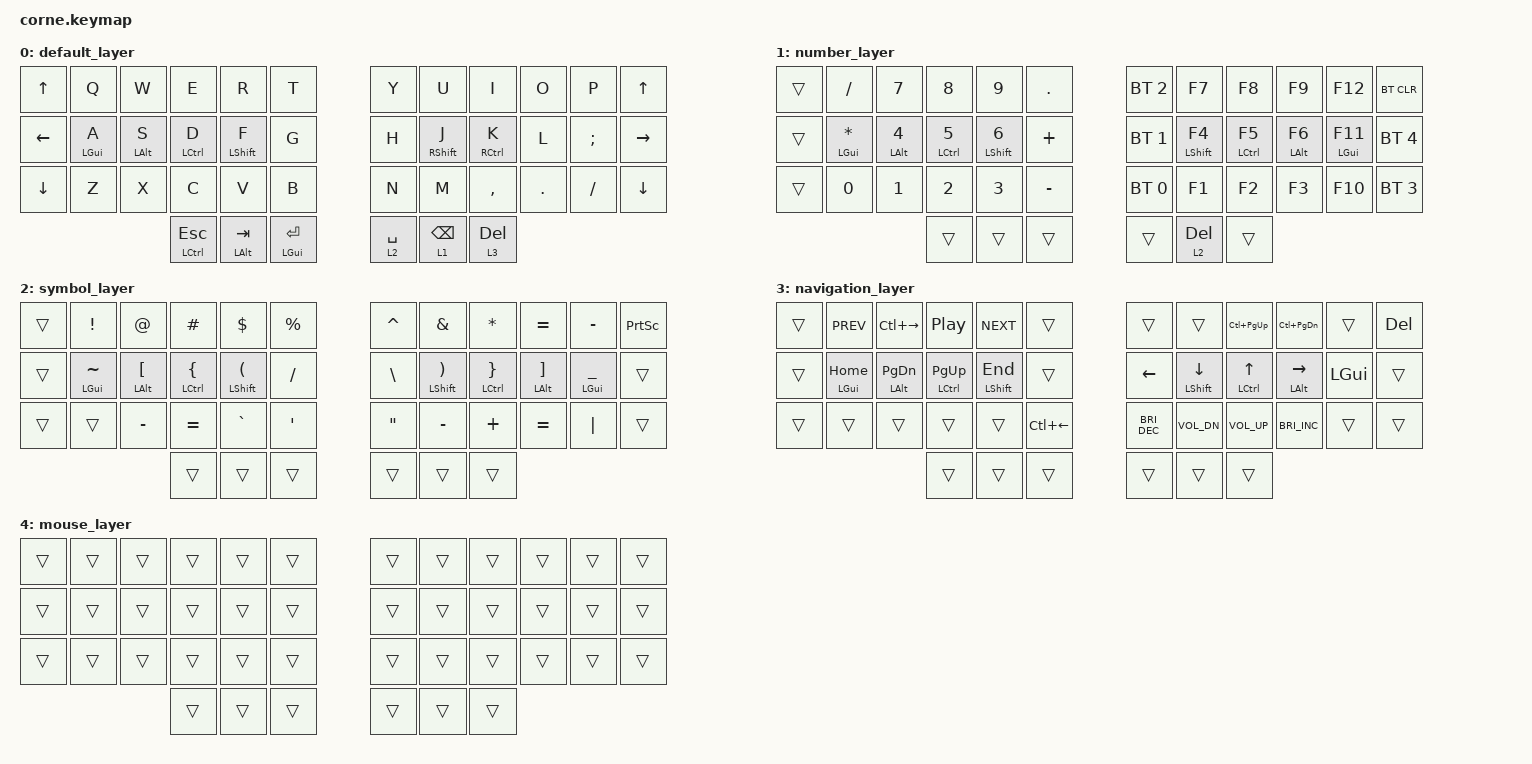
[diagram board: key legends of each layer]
/*
 * Copyright (c) 2020 The ZMK Contributors
 *
 * SPDX-License-Identifier: MIT
 */

/*
 * KEYMAP EDITOR COMPATIBILITY NOTICE
 *
 * This file is structured for compatibility with nickcoutsos's Keymap Editor.
 * The keymap definitions are kept in this single file, while other configurations
 * like behaviors, combos, and custom settings have been moved to separate files.
 *
 * DO NOT add #include directives to this file as they will break compatibility
 * with the Keymap Editor. If you need to modify behaviors or other settings,
 * edit the respective files:
 *  - behaviors.dtsi        - Custom behaviors definitions
 *  - combos.dtsi           - Combo definitions
 *  - layer_defs.dtsi       - Layer constants definitions
 */

#include <behaviors.dtsi>
#include <dt-bindings/zmk/bt.h>
#include <dt-bindings/zmk/keys.h>
#include <dt-bindings/zmk/mouse.h>

// Layer definitions
#define NAV_LAYER 1
#define SYM_LAYER 2
#define SYSTEM_LAYER 3
#define MOUSE_LAYER 4

// Required behavior declarations for keymap editor compatibility
/ {
    behaviors {
        ht: holdtap {
            compatible = "zmk,behavior-hold-tap";
            label = "THUMB_HOLD_TAPS";
            #binding-cells = <2>;
            tapping-term-ms = <300>;
            flavor = "balanced";
            global-quick-tap;
            quick-tap-ms = <0>;
            bindings = <&kp>, <&kp>;
        };

        hml: homerow_mods_left {
            compatible = "zmk,behavior-hold-tap";
            label = "HOMEROW_MODS_LEFT";
            #binding-cells = <2>;
            tapping-term-ms = <200>;
            quick-tap-ms = <175>;
            global-quick-tap;
            flavor = "tap-preferred";
            bindings = <&kp>, <&kp>;

            hold-trigger-on-release;
            hold-trigger-key-positions = <0 1 2 3 4 5 12 13 14 15 16 17 24 25 26 27 28 29 36 37 38 39 41 40>;
            require-prior-idle-ms = <75>;
        };

        hmr: homerow_mods_right {
            compatible = "zmk,behavior-hold-tap";
            label = "HOMEROW_MODS_RIGHT";
            #binding-cells = <2>;
            tapping-term-ms = <200>;
            quick-tap-ms = <175>;
            global-quick-tap;
            flavor = "tap-preferred";
            bindings = <&kp>, <&kp>;

            hold-trigger-on-release;
            require-prior-idle-ms = <75>;
            hold-trigger-key-positions = <6 7 8 9 10 11 18 19 20 21 22 23 30 31 32 33 34 35 39 40 41 36 37 38>;
        };

        // tap -> sticky shift | shift + tap or double tap -> caps-word | hold -> shift
        smart_shft: smart_shft {
            compatible = "zmk,behavior-mod-morph";
            label = "SMART_SHIFT";
            #binding-cells = <0>;
            bindings = <&sk LSHFT>, <&caps_word>;

            mods = <(MOD_LSFT|MOD_RSFT)>;
        };

        gqt: global-quick-tap {
            compatible = "zmk,behavior-hold-tap";
            label = "GLOBAL_QUICK_TAP";
            #binding-cells = <2>;
            flavor = "tap-preferred";
            tapping-term-ms = <200>;
            quick-tap-ms = <125>;
            global-quick-tap;
            bindings = <&kp>, <&kp>;
        };

        // tap or hold -> LALT | double tap -> Caps Lock
        alt_caps: alt_caps {
            compatible = "zmk,behavior-tap-dance";
            label = "ALT_CAPS";
            #binding-cells = <0>;
            tapping-term-ms = <50>;
            bindings = <&kp LALT>, <&kp CAPS>;
        };
    };

    combos { 
        compatible = "zmk,combos";
        
        // Toggle mouse layer when Tab and Backspace are pressed together
        toggle_mouse_layer {
            timeout-ms = <50>;
            key-positions = <38 40>; // Tab (left) and Backspace (right) keys
            bindings = <&tog MOUSE_LAYER>;
        };
    };

    keymap {
        compatible = "zmk,keymap";

        /*
         * DEFAULT LAYER
         * ,-----------------------------------------.                    ,-----------------------------------------.        
         * |      |  Q  |  W  |  E  |  R  |  T  |                    |  Y  |  U  |  I  |  O  |  P  |      |
         * |------+-----+-----+-----+-----+-----|                    |-----+-----+-----+-----+-----+------|
         * |      |  A  |  S  |  D  |  F  |  G  |                    |  H  |  J  |  K  |  L  | ; : |      |
         * |------+-----+-----+-----+-----+-----|                    |-----+-----+-----+-----+-----+------|
         * |      |  Z  |  X  |  C  |  V  |  B  |                    |  N  |  M  | , < | . > | / ? |      |
         * `-----------------------------------------'                    `-----------------------------------------'
         *          |      |      |      |                              |      |      |      |
         *          `--------------------'                              `--------------------'
         */
        default_layer {
            bindings = <
&kp UP    &kp Q        &kp W            &kp E          &kp R              &kp T                 &kp Y        &kp U               &kp I         &kp O    &kp P     &kp UP
&kp LEFT  &hml LGUI A  &hml LEFT_ALT S  &hml LCTRL D   &hml LEFT_SHIFT F  &kp G                 &kp H        &hmr RIGHT_SHIFT J  &hmr RCTRL K  &kp L    &kp SEMI  &kp RIGHT
&kp DOWN  &kp Z        &kp X            &kp C          &kp V              &kp B                 &kp N        &kp M               &kp COMMA     &kp DOT  &kp FSLH  &kp DOWN
                                        &ht LCTRL ESC  &ht LEFT_ALT TAB   &ht LEFT_GUI ENTER    &lt 2 SPACE  &lt 1 BACKSPACE     &lt 3 DEL
            >;
        };

        /*
         * NUMBER LAYER
         * ,-----------------------------------------.                    ,-----------------------------------------.        
         * |      |  /  |  7  |  8  |  9  |  .  |                    | BT2 |  F7 |  F8 |  F9 | F12 |BT CLR|
         * |------+-----+-----+-----+-----+-----|                    |-----+-----+-----+-----+-----+------|
         * |      |  *  |  4  |  5  |  6  |  +  |                    | BT1 |  F4 |  F5 |  F6 | F11 | BT4 |
         * |------+-----+-----+-----+-----+-----|                    |-----+-----+-----+-----+-----+------|
         * |      |  0  |  1  |  2  |  3  |  -  |                    | BT0 |  F1 |  F2 |  F3 | F10 | BT3 |
         * `-----------------------------------------'                    `-----------------------------------------'
         *          |      |      |      |                              |      | DEL |      |
         *          `--------------------'                              `--------------------'
         */
        number_layer {
            bindings = <
&trans  &kp FSLH        &kp N7        &kp N8         &kp N9         &kp DOT      &bt BT_SEL 2  &kp F7         &kp F8         &kp F9        &kp F12        &bt BT_CLR
&trans  &hml LGUI STAR  &hml LALT N4  &hml LCTRL N5  &hml LSHFT N6  &kp PLUS     &bt BT_SEL 1  &hmr LSHFT F4  &hmr LCTRL F5  &hmr LALT F6  &hmr LGUI F11  &bt BT_SEL 4
&trans  &kp N0          &kp N1        &kp N2         &kp N3         &kp MINUS    &bt BT_SEL 0  &kp F1         &kp F2         &kp F3        &kp F10        &bt BT_SEL 3
                                      &trans         &trans         &trans       &trans        &lt 2 DEL      &trans
            >;
        };

        /*
         * SYMBOL LAYER
         * ,-----------------------------------------.                    ,-----------------------------------------.        
         * |      |  !  |  @  |  #  |  $  |  %  |                    |  ^  |  &  |  *  |  =  |  -  | PSCR |
         * |------+-----+-----+-----+-----+-----|                    |-----+-----+-----+-----+-----+------|
         * |      |  ~  |  [  |  {  |  (  |  /  |                    |  \  |  )  |  }  |  ]  |  _  |      |
         * |------+-----+-----+-----+-----+-----|                    |-----+-----+-----+-----+-----+------|
         * |      |     |  -  |  =  |  `  |  '  |                    |  "  |  -  |  +  |  =  |  |  |      |
         * `-----------------------------------------'                    `-----------------------------------------'
         *          |      |      |      |                              |      |      |      |
         *          `--------------------'                              `--------------------'
         */
        symbol_layer {
            bindings = <
&trans  &kp EXCL         &kp AT          &kp HASH         &kp DOLLAR       &kp PRCNT    &kp CARET  &kp AMPS         &kp STAR         &kp EQUAL       &kp MINUS        &kp PRINTSCREEN
&trans  &hml LGUI TILDE  &hml LALT LBKT  &hml LCTRL LBRC  &hml LSHFT LPAR  &kp FSLH     &kp BSLH   &hmr LSHFT RPAR  &hmr LCTRL RBRC  &hmr LALT RBKT  &hmr LGUI UNDER  &trans
&trans  &trans           &kp MINUS       &kp EQUAL        &kp GRAVE        &kp SQT      &kp DQT    &kp MINUS        &kp PLUS         &kp EQUAL       &kp PIPE         &trans
                                         &trans           &trans           &trans       &trans     &trans           &trans
            >;
        };

        /*
         * NAVIGATION LAYER
         * ,-----------------------------------------.                    ,-----------------------------------------.        
         * |      | PREV | C→  | PLAY | NEXT |     |                    |     |     | PgUp | PgDn |     | DEL |
         * |------+-----+-----+-----+-----+-----|                    |-----+-----+-----+-----+-----+------|
         * |      | HOME |PgDn |PgUp | END |     |                    | ←   |  ↓  |  ↑  |  →  | GUI |     |
         * |------+-----+-----+-----+-----+-----|                    |-----+-----+-----+-----+-----+------|
         * |      |     |     |     |     | C←  |                    |BR↓  |VOL- |VOL+ |BR↑  |     |     |
         * `-----------------------------------------'                    `-----------------------------------------'
         *          |      |      |      |                              |      |      |      |
         *          `--------------------'                              `--------------------'
         */
        navigation_layer {
            bindings = <
&trans  &kp C_PREV      &kp LC(RIGHT)    &kp C_PP          &kp C_NEXT      &trans          &trans         &trans           &kp LC(PG_UP)  &kp LC(PG_DN)    &trans    &kp DEL
&trans  &hml LGUI HOME  &hml LALT PG_DN  &hml LCTRL PG_UP  &hml LSHFT END  &trans          &kp LEFT       &hmr LSHFT DOWN  &hmr LCTRL UP  &hmr LALT RIGHT  &kp LGUI  &trans
&trans  &trans          &trans           &trans            &trans          &kp LC(LEFT)    &kp C_BRI_DEC  &kp C_VOL_DN     &kp C_VOL_UP   &kp C_BRI_INC    &trans    &trans
                                         &trans            &trans          &trans          &trans         &trans           &trans
            >;
        };

        /*
         * MOUSE LAYER - ULTRA SIMPLIFIED
         */
        mouse_layer {
            bindings = <
&trans &trans &trans &trans &trans &trans     &trans &trans &trans &trans &trans &trans
&trans &trans &trans &trans &trans &trans     &trans &trans &trans &trans &trans &trans
&trans &trans &trans &trans &trans &trans     &trans &trans &trans &trans &trans &trans
                 &trans &trans &trans     &trans &trans &trans
            >;
        };
    };
};
